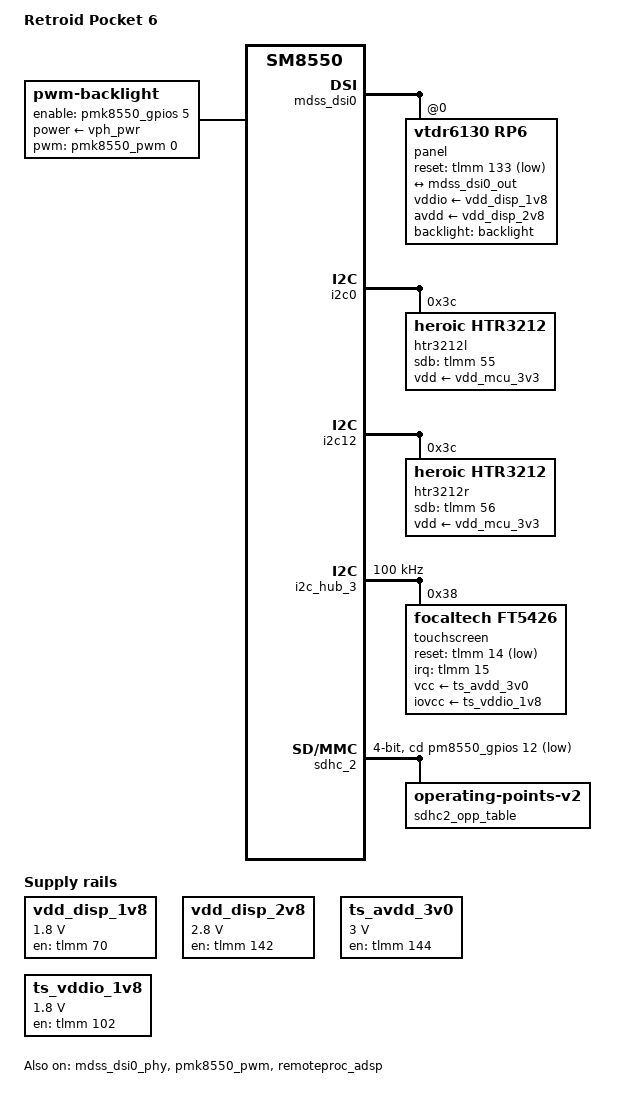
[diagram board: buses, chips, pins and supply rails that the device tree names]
// SPDX-License-Identifier: BSD-3-Clause
/*
 * Copyright (C) 2026-present ROCKNIX (https://github.com/ROCKNIX).
 */

/dts-v1/;

#include "qcs8550-ayn-common.dtsi"

/ {
	model = "Retroid Pocket 6";
	compatible = "retroidpocket,rp6", "qcom,qcs8550", "qcom,sm8550";
	qcom,board-id = <0x1001f 0x00>;
	qcom,msm-id = <0x25b 0x20000>;

	backlight: backlight {
		compatible = "pwm-backlight";
		pwms = <&pmk8550_pwm 0 860000>;
		brightness-levels = <1023 0>;
		num-interpolated-steps = <1023>;
		default-brightness-level = <600>;
		power-supply = <&vph_pwr>;
		enable-gpios = <&pmk8550_gpios 5 GPIO_ACTIVE_HIGH>;
		pinctrl-names = "default";
		pinctrl-0 = <&pwm_backlight_default>;
		status = "okay";
	};

	vdd_disp_1v8: vdd-disp-1v8-regulator {
		compatible = "regulator-fixed";
		regulator-name = "vdd_disp_1v8";

		regulator-min-microvolt = <1800000>;
		regulator-max-microvolt = <1800000>;

		gpio = <&tlmm 70 GPIO_ACTIVE_HIGH>;
		enable-active-high;
	};

	vdd_disp_2v8: vdd-disp-2v8-regulator {
		compatible = "regulator-fixed";
		regulator-name = "vdd_disp_2v8";

		regulator-min-microvolt = <2800000>;
		regulator-max-microvolt = <2800000>;

		gpio = <&tlmm 142 GPIO_ACTIVE_HIGH>;
		enable-active-high;
	};

	ts_avdd_3v0: regulator-ts-avdd-3v0 {
		compatible = "regulator-fixed";
		regulator-name = "ts_avdd_3v0";

		regulator-min-microvolt = <3000000>;
		regulator-max-microvolt = <3000000>;

		gpio = <&tlmm 144 GPIO_ACTIVE_HIGH>;
		enable-active-high;
	};

	ts_vddio_1v8: regulator-ts-vddio-1v8 {
		compatible = "regulator-fixed";
		regulator-name = "ts_vddio_1v8";

		regulator-min-microvolt = <1800000>;
		regulator-max-microvolt = <1800000>;

		gpio = <&tlmm 102 GPIO_ACTIVE_HIGH>;
		enable-active-high;
	};

	multi-ledr1 {
		compatible = "leds-group-multicolor";
		color = <LED_COLOR_ID_RGB>;
		function = "r1";
		leds = <&ledr_r4>, <&ledr_g4>, <&ledr_b4>;
	};

	multi-ledl1 {
		compatible = "leds-group-multicolor";
		color = <LED_COLOR_ID_RGB>;
		function = "l1";
		leds = <&ledl_r4>, <&ledl_g4>, <&ledl_b4>;
	};

	multi-ledr2 {
		compatible = "leds-group-multicolor";
		color = <LED_COLOR_ID_RGB>;
		function = "r2";
		leds = <&ledr_r1>, <&ledr_g1>, <&ledr_b1>;
	};

	multi-ledl2 {
		compatible = "leds-group-multicolor";
		color = <LED_COLOR_ID_RGB>;
		function = "l2";
		leds = <&ledl_r1>, <&ledl_g1>, <&ledl_b1>;
	};

	multi-ledr3 {
		compatible = "leds-group-multicolor";
		color = <LED_COLOR_ID_RGB>;
		function = "r3";
		leds = <&ledr_r2>, <&ledr_g2>, <&ledr_b2>;
	};

	multi-ledl3 {
		compatible = "leds-group-multicolor";
		color = <LED_COLOR_ID_RGB>;
		function = "l3";
		leds = <&ledl_r2>, <&ledl_g2>, <&ledl_b2>;
	};

	multi-ledr4 {
		compatible = "leds-group-multicolor";
		color = <LED_COLOR_ID_RGB>;
		function = "r4";
		leds = <&ledr_r3>, <&ledr_g3>, <&ledr_b3>;
	};

	multi-ledl4 {
		compatible = "leds-group-multicolor";
		color = <LED_COLOR_ID_RGB>;
		function = "l4";
		leds = <&ledl_r3>, <&ledl_g3>, <&ledl_b3>;
	};
};

&gamepad {
	axis-range = <1024>;
};

&{/gpio-keys} {
	pinctrl-0 = <&volume_up_n>, <&paddle_keys_default>;

	key-paddle-left {
		label = "Back Paddle Left";
		debounce-interval = <15>;
		gpios = <&tlmm 57 GPIO_ACTIVE_LOW>;
		linux,code = <BTN_Z>;
	};

	key-paddle-right {
		label = "Back Paddle Right";
		debounce-interval = <15>;
		gpios = <&tlmm 58 GPIO_ACTIVE_LOW>;
		linux,code = <BTN_C>;
	};
};

&tlmm {
	paddle_keys_default: paddle-keys-default-state {
		pins = "gpio57", "gpio58";
		function = "gpio";
		bias-pull-up;
		drive-strength = <2>;
		input-enable;
	};
};

&mdss_dsi0 {
	vdda-supply = <&vreg_l3e_1p2>;
	status = "okay";

	panel@0 {
		reg = <0>;
		compatible = "vtdr6130,rp6";

		pinctrl-0 = <&dsi_p_rst_active>, <&dsi_p_te_active>;
		pinctrl-1 = <&dsi_p_rst_suspend>, <&dsi_p_te_suspend>;
		pinctrl-names = "default", "sleep";

		vddio-supply = <&vdd_disp_1v8>;
		avdd-supply = <&vdd_disp_2v8>;

		reset-gpios = <&tlmm 133 GPIO_ACTIVE_LOW>;

		backlight = <&backlight>;

		rotation = <270>;

		port {
			panel0_in: endpoint {
				remote-endpoint = <&mdss_dsi0_out>;
			};
		};
	};
};

&mdss_dsi0_out {
	remote-endpoint = <&panel0_in>;
	data-lanes = <0 1 2 3>;
};

&mdss_dsi0_phy {
	vdds-supply = <&vreg_l1e_0p88>;
	status = "okay";
};

&mdss_dsi1 {
    status = "disabled";
};

&i2c0 {
	htr3212l: led-controller@3c {
		compatible = "heroic,htr3212";
		reg = <0x3c>;
		#address-cells = <1>;
		#size-cells = <0>;
		sdb-gpios = <&tlmm 55 GPIO_ACTIVE_HIGH>;
		vdd-supply = <&vdd_mcu_3v3>;

		ledl_b1: led@1 {
			reg = <1>;
			label = "l:r1";
			color = <LED_COLOR_ID_RED>;
		};
		ledl_g1: led@2 {
			reg = <2>;
			label = "l:g1";
			color = <LED_COLOR_ID_GREEN>;
		};
		ledl_r1: led@3 {
			reg = <3>;
			label = "l:b1";
			color = <LED_COLOR_ID_BLUE>;
		};
		ledl_b2: led@4 {
			reg = <4>;
			label = "l:r2";
			color = <LED_COLOR_ID_RED>;
		};
		ledl_g2: led@5 {
			reg = <5>;
			label = "l:g2";
			color = <LED_COLOR_ID_GREEN>;
		};
		ledl_r2: led@6 {
			reg = <6>;
			label = "l:b2";
			color = <LED_COLOR_ID_BLUE>;
		};
		ledl_b3: led@7 {
			reg = <7>;
			label = "l:r3";
			color = <LED_COLOR_ID_RED>;
		};
		ledl_g3: led@8 {
			reg = <8>;
			label = "l:g3";
			color = <LED_COLOR_ID_GREEN>;
		};
		ledl_r3: led@9 {
			reg = <9>;
			label = "l:b3";
			color = <LED_COLOR_ID_BLUE>;
		};
		ledl_b4: led@10 {
			reg = <10>;
			label = "l:r4";
			color = <LED_COLOR_ID_RED>;
		};
		ledl_g4: led@11 {
			reg = <11>;
			label = "l:g4";
			color = <LED_COLOR_ID_GREEN>;
		};
		ledl_r4: led@12 {
			reg = <12>;
			label = "l:b4";
			color = <LED_COLOR_ID_BLUE>;
		};
	};
};

&i2c12 {
	htr3212r: led-controller@3c {
		compatible = "heroic,htr3212";
		reg = <0x3c>;
		#address-cells = <1>;
		#size-cells = <0>;
		sdb-gpios = <&tlmm 56 GPIO_ACTIVE_HIGH>;
		vdd-supply = <&vdd_mcu_3v3>;

		ledr_b1: led@1 {
			reg = <1>;
			label = "r:r1";
			color = <LED_COLOR_ID_RED>;
		};
		ledr_g1: led@2 {
			reg = <2>;
			label = "r:g1";
			color = <LED_COLOR_ID_GREEN>;
		};
		ledr_r1: led@3 {
			reg = <3>;
			label = "r:b1";
			color = <LED_COLOR_ID_BLUE>;
		};
		ledr_b2: led@4 {
			reg = <4>;
			label = "r:r2";
			color = <LED_COLOR_ID_RED>;
		};
		ledr_g2: led@5 {
			reg = <5>;
			label = "r:g2";
			color = <LED_COLOR_ID_GREEN>;
		};
		ledr_r2: led@6 {
			reg = <6>;
			label = "r:b2";
			color = <LED_COLOR_ID_BLUE>;
		};
		ledr_b3: led@7 {
			reg = <7>;
			label = "r:r3";
			color = <LED_COLOR_ID_RED>;
		};
		ledr_g3: led@8 {
			reg = <8>;
			label = "r:g3";
			color = <LED_COLOR_ID_GREEN>;
		};
		ledr_r3: led@9 {
			reg = <9>;
			label = "r:b3";
			color = <LED_COLOR_ID_BLUE>;
		};
		ledr_b4: led@10 {
			reg = <10>;
			label = "r:r4";
			color = <LED_COLOR_ID_RED>;
		};
		ledr_g4: led@11 {
			reg = <11>;
			label = "r:g4";
			color = <LED_COLOR_ID_GREEN>;
		};
		ledr_r4: led@12 {
			reg = <12>;
			label = "r:b4";
			color = <LED_COLOR_ID_BLUE>;
		};
	};
};

&i2c_hub_3 {
	clock-frequency = <100000>;
	status = "okay";
	touchscreen@38 {
		compatible = "focaltech,ft5426";
		reg = <0x38>;
		#address-cells = <1>;
		#size-cells = <0>;

		interrupt-parent = <&tlmm>;
		interrupts = <15 IRQ_TYPE_EDGE_FALLING>;
		reset-gpios = <&tlmm 14 GPIO_ACTIVE_LOW>;

		vcc-supply = <&ts_avdd_3v0>;
		iovcc-supply = <&ts_vddio_1v8>;

		pinctrl-0 = <&ts_p_rst_default &ts_p_int_default>;
		pinctrl-1 = <&ts_p_rst_sleep &ts_p_int_sleep>;
		pinctrl-names = "default", "sleep";

		touchscreen-size-x = <1080>;
		touchscreen-size-y = <1920>;
		touchscreen-inverted-y;

		no-regmap-bulk-read;
        };
};

&pmk8550_pwm {
	status = "okay";
};

&remoteproc_adsp {
	firmware-name = "qcom/sm8550/ayn/odin2/adsp.mbn",
			"qcom/sm8550/ayn/odin2/adsp_dtb.mbn";
	status = "okay";
};

&spk_amp_l {
	firmware-name = "qcom/sm8550/ayn/odin2/aw883xx_acf.bin";
};

&spk_amp_r {
	firmware-name = "qcom/sm8550/ayn/odin2/aw883xx_acf.bin";
};

/*
 * microSD at UHS-I SDR104 via the downstream sdhci-msm driver
 * ("qcom,sdhci-msm-v5-downstream", patches 0210-0212).
 *
 * The vendor sdhc_2 node (qcs8550-ayn-common.dtsi, and meanwhile mainline
 * sm8550.dtsi too) caps the slot to legacy SD High-Speed at 37.5MHz
 * (max-sd-hs-hz + sdhci-caps-mask clearing SDR50/SDR104) because the
 * UPSTREAM sdhci-msm has an SDR104 tuning/clock regression on sm8550.
 * The downstream driver has the working DLL/HSR tuning path, taking
 * sequential throughput from ~13MB/s to ~85MB/s (armbian build PR #9546,
 * validated on the AYN Odin 2 - same qcs8550 SD wiring: pm8550_gpios 12
 * card detect, vdd=l9b, vdd-io=l8b). Replace the whole node: the
 * downstream binding is disjoint from the upstream one (msm-bus scaling +
 * dll-hsr-list instead of icc tags/dll-config, own OPPs, no xo clock).
 * Only the RP6 changes; the vendor common stays intact for other devices.
 */
/delete-node/ &sdhc_2;

&soc {
	sdhc_2: sdhci@8804000 {
		compatible = "qcom,sdhci-msm-v5-downstream";
		reg = <0 0x08804000 0 0x1000>;
		reg-names = "hc_mem";
		interrupts = <GIC_SPI 207 IRQ_TYPE_LEVEL_HIGH 0>,
			     <GIC_SPI 223 IRQ_TYPE_LEVEL_HIGH 0>;
		interrupt-names = "hc_irq", "pwr_irq";
		bus-width = <4>;
		no-sdio;
		no-mmc;
		qcom,restore-after-cx-collapse;
		qcom,uses_level_shifter;
		qcom,dll_lock_bist_fail_wa;
		clocks = <&gcc GCC_SDCC2_AHB_CLK>,
			 <&gcc GCC_SDCC2_APPS_CLK>;
		clock-names = "iface", "core";

		/*
		 * DLL HSR settings. Note that the DLL_CONFIG_2 value is not
		 * passed from the device tree, it is calculated in the driver.
		 */
		qcom,dll-hsr-list = <0x0007442C 0x0 0x10
				     0x090106C0 0x80040868>;

		iommus = <&apps_smmu 0x540 0x0>;
		dma-coherent;
		interconnects = <&aggre2_noc MASTER_SDCC_2 0 &mc_virt SLAVE_EBI1 0>,
				<&gem_noc MASTER_APPSS_PROC 0 &config_noc SLAVE_SDCC_2 0>;
		interconnect-names = "sdhc-ddr", "cpu-sdhc";

		qcom,msm-bus,name = "sdhc2";
		qcom,msm-bus,num-cases = <0x07>;
		qcom,msm-bus,num-paths = <0x02>;
		qcom,msm-bus,vectors-KBps = <0x00 0x00 0x00 0x00 0x416 0xc80 0x640 0x640 0xff50 0x3d090 0x186a0 0x208c8 0x1fe9e 0x3d090 0x208c8 0x208c8 0x3fd3e 0x3d090 0x249f0 0x208c8 0x3fd3e 0xc3500 0x493e0 0x493e0 0x146cc2 0x3e8000 0x146cc2 0x3e8000>;
		qcom,bus-bw-vectors-bps = <0x00 0x61a80 0x17d7840 0x2faf080 0x5f5e100 0xbebc200 0xffffffff>;

		operating-points-v2 = <&sdhc2_opp_table>;

		vdd-supply = <&vreg_l9b_2p9>;
		qcom,vdd-voltage-level = <0x2d0370 0x2d2a80>;
		qcom,vdd-current-level = <0x00 0xc3500>;

		vdd-io-supply = <&vreg_l8b_1p8>;
		qcom,vdd-io-voltage-level = <0x1b7740 0x2d2a80>;
		qcom,vdd-io-current-level = <0x00 0x15e0>;

		pinctrl-names = "default", "sleep";
		pinctrl-0 = <&sdc2_default &sdc2_card_det_n>;
		pinctrl-1 = <&sdc2_sleep &sdc2_card_det_n>;

		cd-gpios = <&pm8550_gpios 12 GPIO_ACTIVE_LOW>;
		resets = <&gcc GCC_SDCC2_BCR>;
		reset-names = "core_reset";

		qos0 {
			mask = <0xf0>;
			vote = <0x2c>;
		};

		qos1 {
			mask = <0x0f>;
			vote = <0x2c>;
		};

		sdhc2_opp_table: opp-table {
			compatible = "operating-points-v2";

			opp-100000000 {
				opp-hz = <0x00 0x5f5e100>;
				opp-peak-kBps = <0x27100 0x186a0>;
				opp-avg-kBps = <0xc350 0x00>;
			};

			opp-202000000 {
				opp-hz = <0x00 0xc0a4680>;
				opp-peak-kBps = <0x30d40 0x1d4c0>;
				opp-avg-kBps = <0x19640 0x00>;
			};
		};
	};
};
